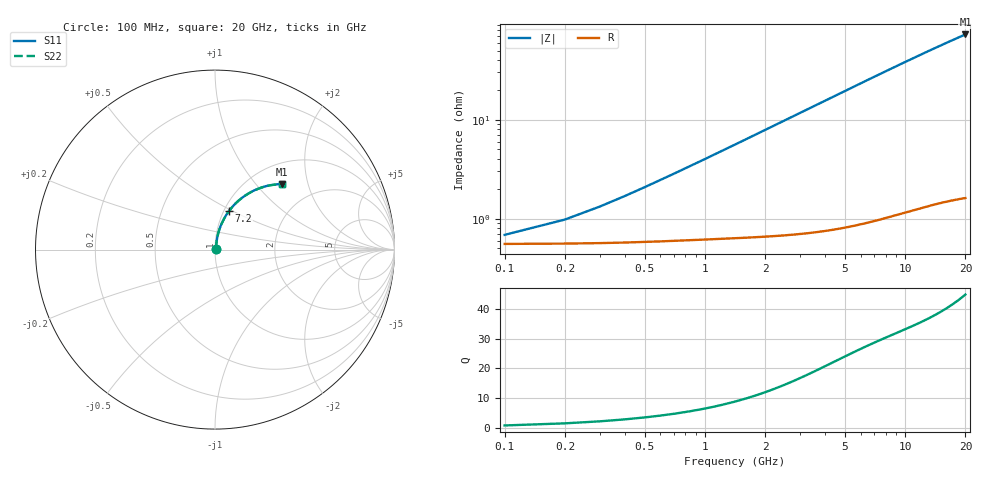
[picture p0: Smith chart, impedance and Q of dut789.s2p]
! Touchstone file exported from HFSS 2026.1.0
!  File:  C:/ffzhzh/LocalFiles/Ansys_Project_Files/temp_train_TMRDL_789_1783155917_22436.aedt
!  Generated:  05:06:29 PM Jul  4, 2026
!  Design:  TMRDL
!  Project:  temp_train_TMRDL_789_1783155917_22436
! Variables:
!  h_bsmrdl = 2um
!  h_ox = 20um
!  h_rdl = 5um
!  h_sub = 80um
!  h_tmrdl = 3.43um
!  h_tsv = 80um
!  h_via = 3um
!  l_bsmrdl = 300um
!  l_sub = 955.23um
!  l_tmrdl = 555.23um
!  m_sub = 200um
!  pitch = 50.91um
!  r_tsv = 6um
!  s_tmrdl = 10um
!  w_bsmrdl = 18um
!  w_sub = 500um
!  w_tmrdl = 10.38um
!  x_tsv_center1 = 560.42um
!  x_tsv_center2 = 878.42um
!  x_tsv_center3 = 1444.03um
!  x_tsv_center4 = 1762.03um
!  x_tsv_center5 = 2327.64um
!  x_tsv_center6 = 2645.64um
# GHz S MA R 50.000000
! Terminal data exported
! Port[1] = TM_RDL1_1_T1
! Port[2] = TM_RDL1_1_T2
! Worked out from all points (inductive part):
!   200 points, 100 MHz to 20 GHz, reference 50 ohm
!   read as one part in series: L = 633 pH near 500 MHz
!   highest Q = 44.9 at 20 GHz (marker M1), where L = 578 pH
!   S11 on the Smith chart (normalised r, x): 100 MHz: 1.01, +0.01; 7.2 GHz: 1.06, +0.49; 20 GHz: 1.38, +1.39
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0.1  0.006525 31.8  0.9945 -0.3  0.9945 -0.3  0.006525 31.8
! Gamma 0 0 0 0
! Port Impedance 50 0 50 0
0.2  0.008882 50.6  0.9944 -0.5  0.9944 -0.5  0.008882 50.6
0.3  0.01179 60.7  0.9943 -0.8  0.9943 -0.8  0.01179 60.7
0.4  0.0149 66.4  0.9942 -1.0  0.9942 -1.0  0.0149 66.4
0.5  0.0181 70.1  0.9941 -1.3  0.9941 -1.3  0.0181 70.1
0.6  0.02135 72.5  0.9939 -1.5  0.9939 -1.5  0.02135 72.5
0.8  0.02788 75.5  0.9936 -2.1  0.9936 -2.1  0.02789 75.5
1.1  0.03774 77.8  0.9931 -2.8  0.9931 -2.8  0.03774 77.8
1.5  0.05092 79.0  0.9924 -3.8  0.9924 -3.8  0.05092 79.0
1.8  0.06081 79.3  0.9917 -4.6  0.9917 -4.6  0.06081 79.3
2.1  0.07069 79.3  0.991 -5.3  0.991 -5.3  0.07069 79.3
2.7  0.09038 78.8  0.9891 -6.8  0.9891 -6.8  0.09038 78.8
3.5  0.1164 77.6  0.9861 -8.8  0.9861 -8.8  0.1164 77.6
4.2  0.1389 76.3  0.9828 -10.6  0.9828 -10.6  0.1389 76.3
5  0.1642 74.7  0.9785 -12.6  0.9785 -12.6  0.1642 74.7
6.8  0.2192 70.8  0.9667 -16.9  0.9667 -16.9  0.2192 70.7
7.2  0.231 69.9  0.9637 -17.8  0.9637 -17.8  0.2311 69.8
8.6  0.2712 66.8  0.9525 -21.1  0.9525 -21.1  0.2713 66.7
10.1  0.3121 63.5  0.9392 -24.5  0.9392 -24.5  0.3121 63.5
13.4  0.3936 56.7  0.9069 -31.6  0.9069 -31.6  0.3936 56.6
16.7  0.4636 50.2  0.8728 -38.2  0.8728 -38.2  0.4636 50.1
20  0.5228 44.3  0.8387 -44.3  0.8387 -44.3  0.5228 44.2
